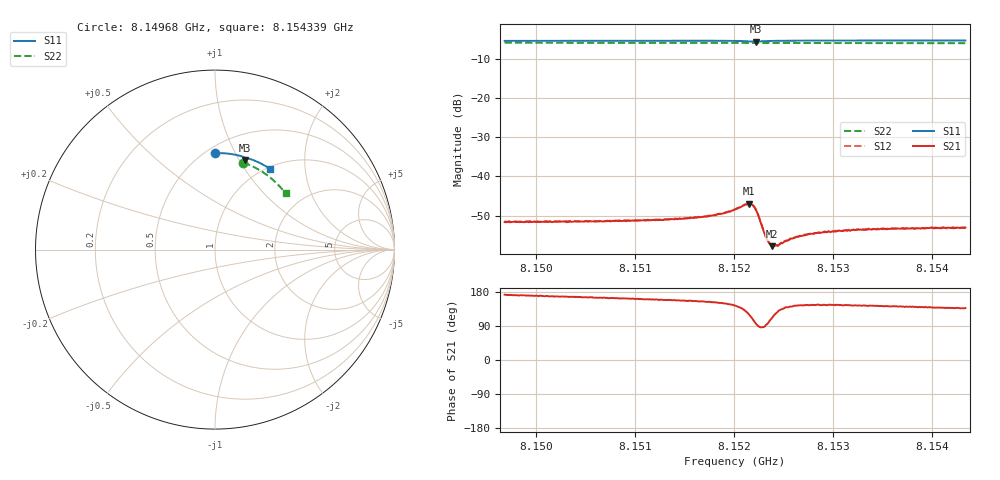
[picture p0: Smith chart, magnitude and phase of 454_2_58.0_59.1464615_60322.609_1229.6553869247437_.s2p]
#  HZ  S  RI  R  50.00
! Rohde & Schwarz Vector Network Analyzer
! Rohde-Schwarz,ZNB20-2Port,1311601062101988,3.16
! Created: UTC 3/21/2024, 1:10:41 AM
! freq[Hz]  re:S11  im:S11  re:S21  im:S21  re:S12  im:S12  re:S22  im:S22
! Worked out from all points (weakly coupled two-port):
!   401 points, 8.14968 GHz to 8.154339 GHz, reference 50 ohm
!   highest |S21| = -46.98 dB at 8.15215 GHz (marker M1); lowest = -57.8 dB at 8.152383 GHz (marker M2)
!   lowest |S11| = -5.6 dB at 8.15222 GHz (marker M3), VSWR 3.23, Z = 38.5 + j53.1 ohm
!   |S11| at or under -10 dB: nowhere
!   |S22| runs from -6.0 to -5.8 dB; largest |S21 - S12| = 0.00012
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8.1496804e9  0.00198 0.5378  -0.0026 0.000345  -0.00264 0.000408  0.1579 0.4849
8.1504608e9  0.0563 0.536  -0.00258 0.000669  -0.00261 0.000694  0.2045 0.4659
8.1512412e9  0.1106 0.5288  -0.00258 0.00101  -0.00262 0.00105  0.2486 0.4425
8.1514975e9  0.1285 0.5252  -0.00267 0.00113  -0.00269 0.0012  0.2626 0.434
8.1517421e9  0.1458 0.5205  -0.00279 0.00141  -0.00281 0.00147  0.2755 0.4254
8.1518935e9  0.157 0.5167  -0.00291 0.00173  -0.00293 0.00175  0.2834 0.4198
8.15201e9  0.1659 0.5125  -0.00306 0.00225  -0.00302 0.00231  0.2893 0.4154
8.1521031e9  0.1721 0.5062  -0.00287 0.00319  -0.00287 0.00325  0.2941 0.4119
8.1521497e9  0.1731 0.5017  -0.00229 0.00385  -0.00224 0.00388  0.2963 0.4099
8.1521847e9  0.1715 0.4989  -0.00142 0.00413  -0.00137 0.00415  0.2979 0.4085
8.1522196e9  0.1689 0.4989  -0.000427 0.00374  -0.000394 0.0038  0.2995 0.4073
8.1522546e9  0.1679 0.5014  0.000111 0.00297  0.000162 0.00296  0.3011 0.406
8.1523012e9  0.1701 0.5051  0.000109 0.00197  0.000124 0.00198  0.3035 0.4044
8.1523244e9  0.1721 0.5063  -8.34e-05 0.00163  -4.69e-05 0.00167  0.3046 0.4036
8.1523594e9  0.1754 0.5074  -0.000326 0.00134  -0.000282 0.00139  0.3064 0.4022
8.1523827e9  0.1775 0.5076  -0.000451 0.00121  -0.000436 0.00123  0.3076 0.4014
8.1524293e9  0.1817 0.5075  -0.000749 0.0011  -0.000742 0.00108  0.31 0.3995
8.152604e9  0.1956 0.5046  -0.00131 0.001  -0.00131 0.00101  0.3187 0.3924
8.1527904e9  0.2088 0.5003  -0.00154 0.00105  -0.00152 0.00111  0.3275 0.3846
8.1531514e9  0.2328 0.4906  -0.00167 0.00118  -0.00166 0.00123  0.3443 0.369
8.1535707e9  0.2593 0.478  -0.00168 0.00134  -0.00168 0.00137  0.3626 0.35
8.1543395e9  0.3053 0.4512  -0.00163 0.00151  -0.00161 0.00157  0.3933 0.3129
